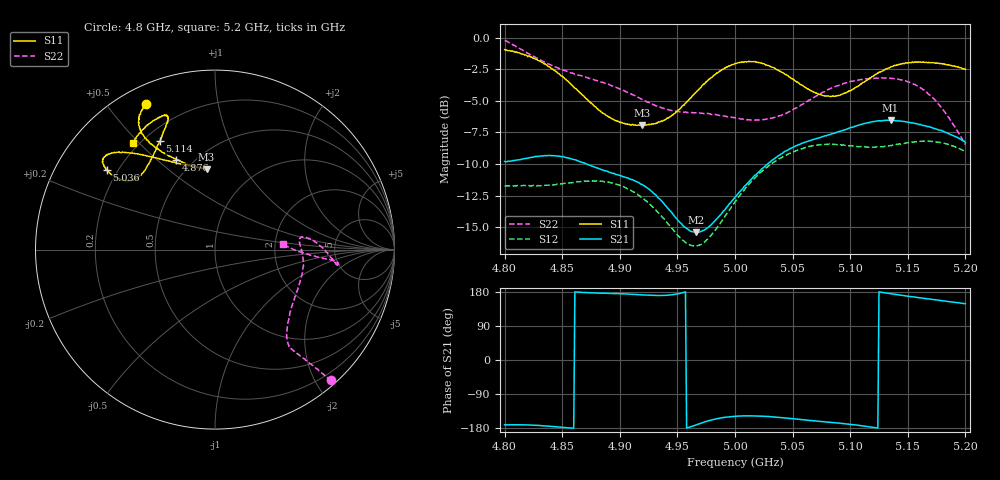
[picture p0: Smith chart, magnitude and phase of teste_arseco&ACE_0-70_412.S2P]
! Network Analyzer HP8722D
! Hewlett-Packard
! Data name: Linha & Wilkinson
! Saver's name: Rodrigo Anjos
! Comments: Teste da utilização de aquisição
! continua pelo VNA HP8722D
! Time and date: 8/5/2025 16:11
!  Frequency  S11  S21  S12  S22
# HZ  S  MA R 50
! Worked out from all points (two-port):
!   401 points, 4.8 GHz to 5.2 GHz, reference 50 ohm
!   highest |S21| = -6.53 dB at 5.135 GHz (marker M1); lowest = -15.4 dB at 4.966 GHz (marker M2)
!   |S21| within 3 dB of the highest: 4.821 GHz to 4.855 GHz (34.91 MHz wide, 0.722 % of centre); 5.035 GHz to end of sweep
!   lowest |S11| = -6.9 dB at 4.919 GHz (marker M3), VSWR 2.63, Z = 30.8 + j34.5 ohm
!   |S11| at or under -10 dB: nowhere
!   |S22| runs from -8.5 to -0.2 dB; largest |S21 - S12| = 0.83
!   S11 on the Smith chart (normalised r, x): 4.8 GHz: 0.08, +0.63; 4.876 GHz: 0.41, +0.58; 5.036 GHz: 0.16, +0.32; 5.114 GHz: 0.26, +0.58; 5.2 GHz: 0.18, +0.48
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4.8e9  0.8965 115.4  0.3238 -171.2  0.259 -86.5  0.9749 -48.3
4.817e9  0.8563 119.4  0.3322 -171.3  0.26 -82.8  0.8838 -49.4
4.835e9  0.7869 122.0  0.3417 -174.0  0.2605 -77.2  0.7991 -50.6
4.867e9  0.5966 117.0  0.3215 178.4  0.2695 -68.5  0.706 -52.3
4.876e9  0.5461 113.2  0.3102 177.1  0.2706 -67.6  0.6859 -52.7
4.901e9  0.462 99.9  0.2842 174.9  0.259 -68.4  0.6242 -50.2
4.919e9  0.4493 96.0  0.263 172.0  0.2329 -70.3  0.5712 -44.4
4.934e9  0.4638 100.5  0.2311 170.2  0.2021 -70.4  0.5312 -36.4
4.955e9  0.54 115.6  0.18 177.8  0.1575 -60.7  0.5074 -22.6
4.966e9  0.6087 122.8  0.1699 -171.4  0.1498 -48.6  0.5047 -16.0
4.979e9  0.6938 129.6  0.1812 -158.6  0.1648 -34.1  0.4978 -9.3
5e9  0.7904 137.1  0.2337 -148.7  0.224 -22.0  0.4811 -0.3
5.019e9  0.7999 141.5  0.2894 -147.9  0.2833 -19.8  0.4725 5.6
5.036e9  0.7489 143.7  0.3367 -150.9  0.326 -20.0  0.4869 8.2
5.067e9  0.6138 141.5  0.395 -160.0  0.3734 -22.5  0.574 3.0
5.088e9  0.5883 132.4  0.4218 -165.9  0.3777 -25.6  0.6433 -3.6
5.114e9  0.6773 117.0  0.4594 -175.2  0.3687 -28.4  0.6868 -7.0
5.134e9  0.7592 110.2  0.4704 175.8  0.3734 -30.7  0.6912 -6.5
5.135e9  0.7648 110.3  0.4718 175.2  0.3747 -30.6  0.6905 -6.4
5.162e9  0.7987 112.6  0.4509 163.5  0.3891 -37.6  0.6298 -4.9
5.179e9  0.7903 118.5  0.4296 156.7  0.3835 -42.9  0.5304 -3.3
5.2e9  0.7485 127.6  0.385 148.4  0.3545 -48.7  0.3779 4.4
